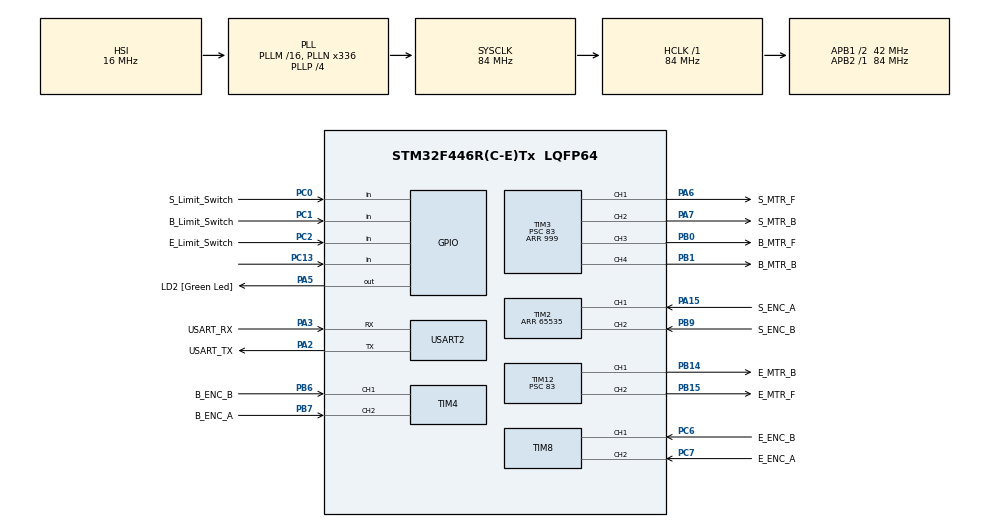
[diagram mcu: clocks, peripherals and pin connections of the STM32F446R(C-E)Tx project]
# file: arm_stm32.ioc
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Mcu.Family=STM32F4
Mcu.Name=STM32F446R(C-E)Tx
Mcu.Package=LQFP64
NVIC.PriorityGroup=NVIC_PRIORITYGROUP_0
NVIC.TIM6_DAC_IRQn=true\:0\:0\:false\:false\:true\:true\:true\:true
NVIC.USART2_IRQn=true\:0\:0\:false\:false\:true\:true\:true\:true
PA13.GPIO_Label=TMS
PA13.Mode=Serial_Wire
PA13.Signal=SYS_JTMS-SWDIO
PA14.GPIO_Label=TCK
PA14.Mode=Serial_Wire
PA14.Signal=SYS_JTCK-SWCLK
PA15.GPIO_Label=S_ENC_A
PA15.Signal=S_TIM2_CH1_ETR
PA2.GPIO_Label=USART_TX
PA2.Mode=Asynchronous
PA2.Signal=USART2_TX
PA3.GPIO_Label=USART_RX
PA3.Mode=Asynchronous
PA3.Signal=USART2_RX
PA5.GPIO_Label=LD2 [Green Led]
PA5.Signal=GPIO_Output
PA6.GPIO_Label=S_MTR_F
PA6.Signal=S_TIM3_CH1
PA7.GPIO_Label=S_MTR_B
PA7.Signal=S_TIM3_CH2
PB0.GPIO_Label=B_MTR_F
PB0.Signal=S_TIM3_CH3
PB1.GPIO_Label=B_MTR_B
PB1.Signal=S_TIM3_CH4
PB14.GPIO_Label=E_MTR_B
PB14.Signal=S_TIM12_CH1
PB15.GPIO_Label=E_MTR_F
PB15.Signal=S_TIM12_CH2
PB3.GPIO_Label=SWO
PB3.Signal=SYS_JTDO-SWO
PB6.GPIO_Label=B_ENC_B
PB6.Signal=S_TIM4_CH1
PB7.GPIO_Label=B_ENC_A
PB7.Signal=S_TIM4_CH2
PB9.GPIO_Label=S_ENC_B
PB9.Signal=S_TIM2_CH2
PC0.GPIO_Label=S_Limit_Switch
PC0.GPIO_PuPd=GPIO_PULLUP
PC0.Signal=GPIO_Input
PC1.GPIO_Label=B_Limit_Switch
PC1.GPIO_PuPd=GPIO_PULLUP
PC1.Signal=GPIO_Input
PC13.Signal=GPIO_Input
PC14-OSC32_IN.Mode=LSE-External-Oscillator
PC14-OSC32_IN.Signal=RCC_OSC32_IN
PC15-OSC32_OUT.Mode=LSE-External-Oscillator
PC15-OSC32_OUT.Signal=RCC_OSC32_OUT
PC2.GPIO_Label=E_Limit_Switch
PC2.GPIO_PuPd=GPIO_PULLUP
PC2.Signal=GPIO_Input
PC6.GPIO_Label=E_ENC_B
PC6.Signal=S_TIM8_CH1
PC7.GPIO_Label=E_ENC_A
PC7.Signal=S_TIM8_CH2
PH0-OSC_IN.Mode=HSE-External-Oscillator
PH0-OSC_IN.Signal=RCC_OSC_IN
PH1-OSC_OUT.Mode=HSE-External-Oscillator
PH1-OSC_OUT.Signal=RCC_OSC_OUT
ProjectManager.HeapSize=0x200
ProjectManager.StackSize=0x400
ProjectManager.TargetToolchain=STM32CubeIDE
RCC.48MHZClocksFreq_Value=84000000
RCC.AHBFreq_Value=84000000
RCC.APB1CLKDivider=RCC_HCLK_DIV2
RCC.APB1Freq_Value=42000000
RCC.APB1TimFreq_Value=84000000
RCC.APB2Freq_Value=84000000
RCC.APB2TimFreq_Value=84000000
RCC.CortexFreq_Value=84000000
RCC.FLatency-AdvancedSettings=FLASH_LATENCY_2
RCC.HCLKFreq_Value=84000000
RCC.HSE_VALUE=8000000
RCC.HSI_VALUE=16000000
RCC.PLLN=336
RCC.PLLP=RCC_PLLP_DIV4
RCC.SYSCLKFreq_VALUE=84000000
RCC.SYSCLKSource=RCC_SYSCLKSOURCE_PLLCLK
RCC.USBFreq_Value=168000000
RCC.VCOOutputFreq_Value=336000000
SH.S_TIM12_CH1.0=TIM12_CH1,PWM Generation1 CH1
SH.S_TIM12_CH2.0=TIM12_CH2,PWM Generation2 CH2
SH.S_TIM2_CH1_ETR.0=TIM2_CH1,Encoder_Interface
SH.S_TIM2_CH2.0=TIM2_CH2,Encoder_Interface
SH.S_TIM3_CH1.0=TIM3_CH1,PWM Generation1 CH1
SH.S_TIM3_CH2.0=TIM3_CH2,PWM Generation2 CH2
SH.S_TIM3_CH3.0=TIM3_CH3,PWM Generation3 CH3
SH.S_TIM3_CH4.0=TIM3_CH4,PWM Generation4 CH4
SH.S_TIM4_CH1.0=TIM4_CH1,Encoder_Interface
SH.S_TIM4_CH2.0=TIM4_CH2,Encoder_Interface
SH.S_TIM8_CH1.0=TIM8_CH1,Encoder_Interface
SH.S_TIM8_CH2.0=TIM8_CH2,Encoder_Interface
TIM12.Channel-PWM\ Generation1\ CH1=TIM_CHANNEL_1
TIM12.Channel-PWM\ Generation2\ CH2=TIM_CHANNEL_2
TIM12.Period=999
TIM12.Prescaler=83
TIM2.EncoderMode=TIM_ENCODERMODE_TI1
TIM2.Period=65535
TIM3.Channel-PWM\ Generation1\ CH1=TIM_CHANNEL_1
TIM3.Channel-PWM\ Generation2\ CH2=TIM_CHANNEL_2
TIM3.Channel-PWM\ Generation3\ CH3=TIM_CHANNEL_3
TIM3.Channel-PWM\ Generation4\ CH4=TIM_CHANNEL_4
TIM3.Period=999
TIM3.Prescaler=83
TIM6.Period=9
TIM6.Prescaler=8399
USART2.VirtualMode=VM_ASYNC
VP_TIM3_VS_ClockSourceINT.Mode=Internal
VP_TIM6_VS_ClockSourceINT.Mode=Enable_Timer
board=NUCLEO-F446RE

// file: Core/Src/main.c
/* USER CODE BEGIN Header */
/**
  ******************************************************************************
  * @file           : main.c
  * @brief          : Main program body
  ******************************************************************************
  * @attention
  *
  * Copyright (c) 2026 STMicroelectronics.
  * All rights reserved.
  *
  * This software is licensed under terms that can be found in the LICENSE file
  * in the root directory of this software component.
  * If no LICENSE file comes with this software, it is provided AS-IS.
  *
  ******************************************************************************
  */
/* USER CODE END Header */
#include "main.h"

/* USER CODE BEGIN Includes */

#include "motor.h"
#include "encoder.h"
#include "pid.h"
#include "joint.h"
#include "serial.h"
#include "protocol.h"
#include "serial_monitor.h"
/* USER CODE END Includes */

TIM_HandleTypeDef htim2;
TIM_HandleTypeDef htim3;
TIM_HandleTypeDef htim4;
TIM_HandleTypeDef htim6;
TIM_HandleTypeDef htim8;
TIM_HandleTypeDef htim12;

UART_HandleTypeDef huart2;

/* USER CODE BEGIN PV */
static Joint shoulder_joint;
static Joint base_joint;
static Joint elbow_joint;

//enum State {
//	IDLE,
//	CAL,
//	CONTR,
//};
//enum State state = IDLE;

uint8_t rx_byte;
Packet packet;

uint8_t joint_publish_flag = 0;
uint8_t joint_calibrate_flag = 0;
uint8_t joint_control_flag = 0;

static uint16_t JOINT_PUBLISH_FREQ = 100;  //Hz
uint16_t joint_publish_counter = 0;
/* USER CODE END PV */

void SystemClock_Config(void);
static void MX_GPIO_Init(void);
static void MX_USART2_UART_Init(void);
static void MX_TIM3_Init(void);
static void MX_TIM2_Init(void);
static void MX_TIM6_Init(void);
static void MX_TIM4_Init(void);
static void MX_TIM8_Init(void);
static void MX_TIM12_Init(void);

int main(void)
{

  /* MCU Configuration--------------------------------------------------------*/

  /* Reset of all peripherals, Initializes the Flash interface and the Systick. */
  HAL_Init();

  /* Configure the system clock */
  SystemClock_Config();

  /* Initialize all configured peripherals */
  MX_GPIO_Init();
  MX_USART2_UART_Init();
  MX_TIM3_Init();
  MX_TIM2_Init();
  MX_TIM6_Init();
  MX_TIM4_Init();
  MX_TIM8_Init();
  MX_TIM12_Init();
  /* USER CODE BEGIN 2 */

  HAL_StatusTypeDef status = HAL_TIM_Encoder_Start(&htim2, TIM_CHANNEL_ALL);
  HAL_TIM_Encoder_Start(&htim4, TIM_CHANNEL_ALL);
  HAL_TIM_Encoder_Start(&htim8, TIM_CHANNEL_ALL);

  if(status != HAL_OK){
	  HAL_GPIO_WritePin(GPIOA, GPIO_PIN_5, GPIO_PIN_SET);
	  while(1);
  }

  HAL_TIM_Base_Start_IT(&htim6);

  HAL_TIM_PWM_Start(&htim3, TIM_CHANNEL_1);
  HAL_TIM_PWM_Start(&htim3, TIM_CHANNEL_2);
  HAL_TIM_PWM_Start(&htim3, TIM_CHANNEL_3);
  HAL_TIM_PWM_Start(&htim3, TIM_CHANNEL_4);
  __HAL_TIM_SET_COMPARE(&htim3, TIM_CHANNEL_1, 0);
  __HAL_TIM_SET_COMPARE(&htim3, TIM_CHANNEL_2, 0);
  __HAL_TIM_SET_COMPARE(&htim3, TIM_CHANNEL_3, 0);
  __HAL_TIM_SET_COMPARE(&htim3, TIM_CHANNEL_4, 0);

  HAL_TIM_PWM_Start(&htim12, TIM_CHANNEL_1);
  HAL_TIM_PWM_Start(&htim12, TIM_CHANNEL_2);
  __HAL_TIM_SET_COMPARE(&htim12, TIM_CHANNEL_1, 0);
  __HAL_TIM_SET_COMPARE(&htim12, TIM_CHANNEL_2, 0);
  /* USER CODE END 2 */

  /* Infinite loop */
  /* USER CODE BEGIN WHILE */

  //SHOULDER JOINT DECLARATION
  Motor shoulder_motor = {.timer=&htim3, .forward_channel=TIM_CHANNEL_1, .reverse_channel=TIM_CHANNEL_2, .min_duty_forward=50, .min_duty_reverse=-75};
  Encoder shoulder_encoder = {.timer=&htim2, .offset=0, .resolution=12576};
  PID shoulder_pid = {.Kp=1.0f, .Ki=0.0f, .Kd=0.0f, .integral=0, .prev_error=0};
  Joint_Init(&shoulder_joint, &shoulder_motor, &shoulder_encoder, &shoulder_pid, S_Limit_Switch_Pin, 0, 78.0, -90.0);

  //BASE JOINT DECLARATION
  Motor base_motor = {.timer=&htim3, .forward_channel=TIM_CHANNEL_3, .reverse_channel=TIM_CHANNEL_4, .min_duty_forward=100, .min_duty_reverse=-100};
  Encoder base_encoder = {.timer=&htim4, .offset=0, .resolution=7040};
  PID base_pid = {.Kp=3.5f, .Ki=0.0f, .Kd=0.0f, .integral=0, .prev_error=0};
  Joint_Init(&base_joint, &base_motor, &base_encoder, &base_pid, B_Limit_Switch_Pin, 0, 80.0, -90.0);

  //ELBOW JOINT DECLARATION
  Motor elbow_motor = {.timer=&htim12, .forward_channel=TIM_CHANNEL_1, .reverse_channel=TIM_CHANNEL_2, .min_duty_forward=100, .min_duty_reverse=-100};
  Encoder elbow_encoder = {.timer=&htim8, .offset=0, .resolution=11000};
  PID elbow_pid = {.Kp=3.5f, .Ki=0.0f, .Kd=0.0f, .integral=0, .prev_error=0};
  Joint_Init(&elbow_joint, &elbow_motor, &elbow_encoder, &elbow_pid, E_Limit_Switch_Pin, 0, 119.0, -90.0);

  joint_control_flag = 0;

  //serial initialization
  Serial_Init(&huart2);
  HAL_UART_Receive_IT(&huart2, &rx_byte, 1);
  SerialMonitor_Init();

  while (1)
  {

//	  if(HAL_GPIO_ReadPin(GPIOC, GPIO_PIN_13) == GPIO_PIN_RESET){
//		  Motor_SetPower(&shoulder_motor, -300);
//	  }else{
//		  Motor_SetPower(&shoulder_motor, 0);
//	  }
//
//	  if(HAL_GPIO_ReadPin(GPIOC, E_Limit_Switch_Pin) == GPIO_PIN_SET){
//		  HAL_GPIO_WritePin(GPIOA, GPIO_PIN_5, GPIO_PIN_SET);
//	  }else{
//		  HAL_GPIO_WritePin(GPIOA, GPIO_PIN_5, GPIO_PIN_RESET);
//	  }
//
//	  //int32_t pos = Encoder_GetPosition(&shoulder_encoder);
//	  char buf[32];
//	  sprintf(buf, "%ld\r\n", __HAL_TIM_GET_COUNTER(&htim2));
//	  HAL_UART_Transmit(&huart2, (uint8_t*)buf, strlen(buf), HAL_MAX_DELAY);

	  if(joint_publish_flag == 1){
		  Protocol_WriteCommand(JOINT_STATE, Joint_GetAngle(&base_joint), Joint_GetAngle(&shoulder_joint), Joint_GetAngle(&elbow_joint));
		  joint_publish_flag = 0;
	  }

	  if(joint_calibrate_flag == 1){
		  joint_control_flag = 0;
		  HAL_GPIO_TogglePin(GPIOA, GPIO_PIN_5);
		  Joint_Calibrate(&base_joint);
		  HAL_Delay(250);
		  Joint_Calibrate(&shoulder_joint);
		  HAL_Delay(250);
		  Joint_Calibrate(&elbow_joint);
		  HAL_Delay(250);
		  joint_calibrate_flag = 0;
		  joint_control_flag = 1;
	  }

    /* USER CODE END WHILE */

  }
}

void SystemClock_Config(void)
{
  RCC_OscInitTypeDef RCC_OscInitStruct = {0};
  RCC_ClkInitTypeDef RCC_ClkInitStruct = {0};

  /** Configure the main internal regulator output voltage
  */
  __HAL_RCC_PWR_CLK_ENABLE();
  __HAL_PWR_VOLTAGESCALING_CONFIG(PWR_REGULATOR_VOLTAGE_SCALE3);

  /** Initializes the RCC Oscillators according to the specified parameters
  * in the RCC_OscInitTypeDef structure.
  */
  RCC_OscInitStruct.OscillatorType = RCC_OSCILLATORTYPE_HSI;
  RCC_OscInitStruct.HSIState = RCC_HSI_ON;
  RCC_OscInitStruct.HSICalibrationValue = RCC_HSICALIBRATION_DEFAULT;
  RCC_OscInitStruct.PLL.PLLState = RCC_PLL_ON;
  RCC_OscInitStruct.PLL.PLLSource = RCC_PLLSOURCE_HSI;
  RCC_OscInitStruct.PLL.PLLM = 16;
  RCC_OscInitStruct.PLL.PLLN = 336;
  RCC_OscInitStruct.PLL.PLLP = RCC_PLLP_DIV4;
  RCC_OscInitStruct.PLL.PLLQ = 2;
  RCC_OscInitStruct.PLL.PLLR = 2;
  if (HAL_RCC_OscConfig(&RCC_OscInitStruct) != HAL_OK)
  {
    Error_Handler();
  }

  /** Initializes the CPU, AHB and APB buses clocks
  */
  RCC_ClkInitStruct.ClockType = RCC_CLOCKTYPE_HCLK|RCC_CLOCKTYPE_SYSCLK
                              |RCC_CLOCKTYPE_PCLK1|RCC_CLOCKTYPE_PCLK2;
  RCC_ClkInitStruct.SYSCLKSource = RCC_SYSCLKSOURCE_PLLCLK;
  RCC_ClkInitStruct.AHBCLKDivider = RCC_SYSCLK_DIV1;
  RCC_ClkInitStruct.APB1CLKDivider = RCC_HCLK_DIV2;
  RCC_ClkInitStruct.APB2CLKDivider = RCC_HCLK_DIV1;

  if (HAL_RCC_ClockConfig(&RCC_ClkInitStruct, FLASH_LATENCY_2) != HAL_OK)
  {
    Error_Handler();
  }
}

static void MX_TIM2_Init(void)
{

  TIM_Encoder_InitTypeDef sConfig = {0};
  TIM_MasterConfigTypeDef sMasterConfig = {0};

  htim2.Instance = TIM2;
  htim2.Init.Prescaler = 0;
  htim2.Init.CounterMode = TIM_COUNTERMODE_UP;
  htim2.Init.Period = 65535;
  htim2.Init.ClockDivision = TIM_CLOCKDIVISION_DIV1;
  htim2.Init.AutoReloadPreload = TIM_AUTORELOAD_PRELOAD_DISABLE;
  sConfig.EncoderMode = TIM_ENCODERMODE_TI1;
  sConfig.IC1Polarity = TIM_ICPOLARITY_RISING;
  sConfig.IC1Selection = TIM_ICSELECTION_DIRECTTI;
  sConfig.IC1Prescaler = TIM_ICPSC_DIV1;
  sConfig.IC1Filter = 0;
  sConfig.IC2Polarity = TIM_ICPOLARITY_RISING;
  sConfig.IC2Selection = TIM_ICSELECTION_DIRECTTI;
  sConfig.IC2Prescaler = TIM_ICPSC_DIV1;
  sConfig.IC2Filter = 0;
  if (HAL_TIM_Encoder_Init(&htim2, &sConfig) != HAL_OK)
  {
    Error_Handler();
  }
  sMasterConfig.MasterOutputTrigger = TIM_TRGO_RESET;
  sMasterConfig.MasterSlaveMode = TIM_MASTERSLAVEMODE_DISABLE;
  if (HAL_TIMEx_MasterConfigSynchronization(&htim2, &sMasterConfig) != HAL_OK)
  {
    Error_Handler();
  }

}

static void MX_TIM3_Init(void)
{

  TIM_ClockConfigTypeDef sClockSourceConfig = {0};
  TIM_MasterConfigTypeDef sMasterConfig = {0};
  TIM_OC_InitTypeDef sConfigOC = {0};

  htim3.Instance = TIM3;
  htim3.Init.Prescaler = 83;
  htim3.Init.CounterMode = TIM_COUNTERMODE_UP;
  htim3.Init.Period = 999;
  htim3.Init.ClockDivision = TIM_CLOCKDIVISION_DIV1;
  htim3.Init.AutoReloadPreload = TIM_AUTORELOAD_PRELOAD_DISABLE;
  if (HAL_TIM_Base_Init(&htim3) != HAL_OK)
  {
    Error_Handler();
  }
  sClockSourceConfig.ClockSource = TIM_CLOCKSOURCE_INTERNAL;
  if (HAL_TIM_ConfigClockSource(&htim3, &sClockSourceConfig) != HAL_OK)
  {
    Error_Handler();
  }
  if (HAL_TIM_PWM_Init(&htim3) != HAL_OK)
  {
    Error_Handler();
  }
  sMasterConfig.MasterOutputTrigger = TIM_TRGO_RESET;
  sMasterConfig.MasterSlaveMode = TIM_MASTERSLAVEMODE_DISABLE;
  if (HAL_TIMEx_MasterConfigSynchronization(&htim3, &sMasterConfig) != HAL_OK)
  {
    Error_Handler();
  }
  sConfigOC.OCMode = TIM_OCMODE_PWM1;
  sConfigOC.Pulse = 0;
  sConfigOC.OCPolarity = TIM_OCPOLARITY_HIGH;
  sConfigOC.OCFastMode = TIM_OCFAST_DISABLE;
  if (HAL_TIM_PWM_ConfigChannel(&htim3, &sConfigOC, TIM_CHANNEL_1) != HAL_OK)
  {
    Error_Handler();
  }
  if (HAL_TIM_PWM_ConfigChannel(&htim3, &sConfigOC, TIM_CHANNEL_2) != HAL_OK)
  {
    Error_Handler();
  }
  if (HAL_TIM_PWM_ConfigChannel(&htim3, &sConfigOC, TIM_CHANNEL_3) != HAL_OK)
  {
    Error_Handler();
  }
  if (HAL_TIM_PWM_ConfigChannel(&htim3, &sConfigOC, TIM_CHANNEL_4) != HAL_OK)
  {
    Error_Handler();
  }
  HAL_TIM_MspPostInit(&htim3);

}

static void MX_TIM4_Init(void)
{

  TIM_Encoder_InitTypeDef sConfig = {0};
  TIM_MasterConfigTypeDef sMasterConfig = {0};

  htim4.Instance = TIM4;
  htim4.Init.Prescaler = 0;
  htim4.Init.CounterMode = TIM_COUNTERMODE_UP;
  htim4.Init.Period = 65535;
  htim4.Init.ClockDivision = TIM_CLOCKDIVISION_DIV1;
  htim4.Init.AutoReloadPreload = TIM_AUTORELOAD_PRELOAD_DISABLE;
  sConfig.EncoderMode = TIM_ENCODERMODE_TI1;
  sConfig.IC1Polarity = TIM_ICPOLARITY_RISING;
  sConfig.IC1Selection = TIM_ICSELECTION_DIRECTTI;
  sConfig.IC1Prescaler = TIM_ICPSC_DIV1;
  sConfig.IC1Filter = 0;
  sConfig.IC2Polarity = TIM_ICPOLARITY_RISING;
  sConfig.IC2Selection = TIM_ICSELECTION_DIRECTTI;
  sConfig.IC2Prescaler = TIM_ICPSC_DIV1;
  sConfig.IC2Filter = 0;
  if (HAL_TIM_Encoder_Init(&htim4, &sConfig) != HAL_OK)
  {
    Error_Handler();
  }
  sMasterConfig.MasterOutputTrigger = TIM_TRGO_RESET;
  sMasterConfig.MasterSlaveMode = TIM_MASTERSLAVEMODE_DISABLE;
  if (HAL_TIMEx_MasterConfigSynchronization(&htim4, &sMasterConfig) != HAL_OK)
  {
    Error_Handler();
  }

}

static void MX_TIM6_Init(void)
{

  TIM_MasterConfigTypeDef sMasterConfig = {0};

  htim6.Instance = TIM6;
  htim6.Init.Prescaler = 8399;
  htim6.Init.CounterMode = TIM_COUNTERMODE_UP;
  htim6.Init.Period = 9;
  htim6.Init.AutoReloadPreload = TIM_AUTORELOAD_PRELOAD_DISABLE;
  if (HAL_TIM_Base_Init(&htim6) != HAL_OK)
  {
    Error_Handler();
  }
  sMasterConfig.MasterOutputTrigger = TIM_TRGO_RESET;
  sMasterConfig.MasterSlaveMode = TIM_MASTERSLAVEMODE_DISABLE;
  if (HAL_TIMEx_MasterConfigSynchronization(&htim6, &sMasterConfig) != HAL_OK)
  {
    Error_Handler();
  }

}

static void MX_TIM8_Init(void)
{

  TIM_Encoder_InitTypeDef sConfig = {0};
  TIM_MasterConfigTypeDef sMasterConfig = {0};

  htim8.Instance = TIM8;
  htim8.Init.Prescaler = 0;
  htim8.Init.CounterMode = TIM_COUNTERMODE_UP;
  htim8.Init.Period = 65535;
  htim8.Init.ClockDivision = TIM_CLOCKDIVISION_DIV1;
  htim8.Init.RepetitionCounter = 0;
  htim8.Init.AutoReloadPreload = TIM_AUTORELOAD_PRELOAD_DISABLE;
  sConfig.EncoderMode = TIM_ENCODERMODE_TI1;
  sConfig.IC1Polarity = TIM_ICPOLARITY_RISING;
  sConfig.IC1Selection = TIM_ICSELECTION_DIRECTTI;
  sConfig.IC1Prescaler = TIM_ICPSC_DIV1;
  sConfig.IC1Filter = 0;
  sConfig.IC2Polarity = TIM_ICPOLARITY_RISING;
  sConfig.IC2Selection = TIM_ICSELECTION_DIRECTTI;
  sConfig.IC2Prescaler = TIM_ICPSC_DIV1;
  sConfig.IC2Filter = 0;
  if (HAL_TIM_Encoder_Init(&htim8, &sConfig) != HAL_OK)
  {
    Error_Handler();
  }
  sMasterConfig.MasterOutputTrigger = TIM_TRGO_RESET;
  sMasterConfig.MasterSlaveMode = TIM_MASTERSLAVEMODE_DISABLE;
  if (HAL_TIMEx_MasterConfigSynchronization(&htim8, &sMasterConfig) != HAL_OK)
  {
    Error_Handler();
  }

}

static void MX_TIM12_Init(void)
{

  TIM_OC_InitTypeDef sConfigOC = {0};

  htim12.Instance = TIM12;
  htim12.Init.Prescaler = 83;
  htim12.Init.CounterMode = TIM_COUNTERMODE_UP;
  htim12.Init.Period = 999;
  htim12.Init.ClockDivision = TIM_CLOCKDIVISION_DIV1;
  htim12.Init.AutoReloadPreload = TIM_AUTORELOAD_PRELOAD_DISABLE;
  if (HAL_TIM_PWM_Init(&htim12) != HAL_OK)
  {
    Error_Handler();
  }
  sConfigOC.OCMode = TIM_OCMODE_PWM1;
  sConfigOC.Pulse = 0;
  sConfigOC.OCPolarity = TIM_OCPOLARITY_HIGH;
  sConfigOC.OCFastMode = TIM_OCFAST_DISABLE;
  if (HAL_TIM_PWM_ConfigChannel(&htim12, &sConfigOC, TIM_CHANNEL_1) != HAL_OK)
  {
    Error_Handler();
  }
  if (HAL_TIM_PWM_ConfigChannel(&htim12, &sConfigOC, TIM_CHANNEL_2) != HAL_OK)
  {
    Error_Handler();
  }
  HAL_TIM_MspPostInit(&htim12);

}

static void MX_USART2_UART_Init(void)
{

  huart2.Instance = USART2;
  huart2.Init.BaudRate = 115200;
  huart2.Init.WordLength = UART_WORDLENGTH_8B;
  huart2.Init.StopBits = UART_STOPBITS_1;
  huart2.Init.Parity = UART_PARITY_NONE;
  huart2.Init.Mode = UART_MODE_TX_RX;
  huart2.Init.HwFlowCtl = UART_HWCONTROL_NONE;
  huart2.Init.OverSampling = UART_OVERSAMPLING_16;
  if (HAL_UART_Init(&huart2) != HAL_OK)
  {
    Error_Handler();
  }

}

static void MX_GPIO_Init(void)
{
  GPIO_InitTypeDef GPIO_InitStruct = {0};

  /* GPIO Ports Clock Enable */
  __HAL_RCC_GPIOC_CLK_ENABLE();
  __HAL_RCC_GPIOH_CLK_ENABLE();
  __HAL_RCC_GPIOA_CLK_ENABLE();
  __HAL_RCC_GPIOB_CLK_ENABLE();

  /*Configure GPIO pin Output Level */
  HAL_GPIO_WritePin(LD2_GPIO_Port, LD2_Pin, GPIO_PIN_RESET);

  /*Configure GPIO pin : PC13 */
  GPIO_InitStruct.Pin = GPIO_PIN_13;
  GPIO_InitStruct.Mode = GPIO_MODE_INPUT;
  GPIO_InitStruct.Pull = GPIO_NOPULL;
  HAL_GPIO_Init(GPIOC, &GPIO_InitStruct);

  /*Configure GPIO pins : S_Limit_Switch_Pin B_Limit_Switch_Pin E_Limit_Switch_Pin */
  GPIO_InitStruct.Pin = S_Limit_Switch_Pin|B_Limit_Switch_Pin|E_Limit_Switch_Pin;
  GPIO_InitStruct.Mode = GPIO_MODE_INPUT;
  GPIO_InitStruct.Pull = GPIO_PULLUP;
  HAL_GPIO_Init(GPIOC, &GPIO_InitStruct);

  /*Configure GPIO pin : LD2_Pin */
  GPIO_InitStruct.Pin = LD2_Pin;
  GPIO_InitStruct.Mode = GPIO_MODE_OUTPUT_PP;
  GPIO_InitStruct.Pull = GPIO_NOPULL;
  GPIO_InitStruct.Speed = GPIO_SPEED_FREQ_LOW;
  HAL_GPIO_Init(LD2_GPIO_Port, &GPIO_InitStruct);

}

/* USER CODE BEGIN 4 */

void HAL_TIM_PeriodElapsedCallback(TIM_HandleTypeDef* htim){
	if(htim->Instance == TIM6){

		// update limit switch indicators
//		if(HAL_GPIO_ReadPin(GPIOC, S_Limit_Switch_Pin) == GPIO_PIN_SET || HAL_GPIO_ReadPin(GPIOC, B_Limit_Switch_Pin) == GPIO_PIN_SET){
//			HAL_GPIO_WritePin(GPIOA, GPIO_PIN_5, GPIO_PIN_SET);
//		}else{
//			HAL_GPIO_WritePin(GPIOA, GPIO_PIN_5, GPIO_PIN_RESET);
//		}

		// state control
//		switch(state){
//			case CONTR:
//				Joint_Update(&shoulder_joint);
//				Joint_Update(&base_joint);
//				break;
//			case IDLE:
//				break;
//			case CAL:
//				break;
//		}c
		if(joint_control_flag == 1){
			Joint_Update(&shoulder_joint);
			Joint_Update(&base_joint);
			Joint_Update(&elbow_joint);
		}

		// serial monitoring

		if(Protocol_ReadPacket(&packet) == HAL_OK){
			switch((CommandID)packet.command){
				case JOINT_STATE:
					break;

				case SET_POSITION:
					float positions[3];
					int byte_index = 0;
					for(int float_index = 0; float_index < 3; float_index++){
						memcpy(&(positions[float_index]), &(packet.args[byte_index]), sizeof(float));
						byte_index += 4;
					}
					Joint_SetTargetAngle(&base_joint, positions[0]);
					Joint_SetTargetAngle(&shoulder_joint, positions[1]);
					Joint_SetTargetAngle(&elbow_joint, positions[2]);
					HAL_GPIO_TogglePin(GPIOA, GPIO_PIN_5);
					break;

				case CALIBRATE:
					joint_calibrate_flag = 1;
					break;

				case HOME:
					Joint_SetTargetAngle(&base_joint, 0.0f);
					Joint_SetTargetAngle(&shoulder_joint, 0.0f);
					Joint_SetTargetAngle(&elbow_joint, 0.0f);
					break;

				case SET_PID:
					break;

				case ESTOP:
					break;

				case ERROR_MSG:
					break;
			}
		}

		joint_publish_counter++;
		if(joint_publish_counter >= (uint16_t)(1000 / JOINT_PUBLISH_FREQ)){
			joint_publish_counter = 0;
			joint_publish_flag = 1;
		}

	}

}

void HAL_UART_RxCpltCallback(UART_HandleTypeDef* huart){
	if(huart->Instance == USART2){
		SerialMonitor_Append(rx_byte);
		HAL_UART_Receive_IT(huart, &rx_byte, 1);
	}
}

//void HAL_UART_ErrorCallback(UART_HandleTypeDef* huart){
//	if(huart->Instance == USART2){
//		uint32_t err = HAL_UART_GetError(huart);
//		Protocol_WriteError((uint8_t)err);
//		Protocol_WriteError((uint8_t)huart->RxState);
//		Protocol_WriteError((uint8_t)huart->gState);
//		HAL_StatusTypeDef status = HAL_UART_Receive_IT(huart, &rx_byte, 1);
//		Protocol_WriteError((uint8_t)status);
//	}
//}

/* USER CODE END 4 */

void Error_Handler(void)
{
  __disable_irq();
  while (1)
  {
  }
}
